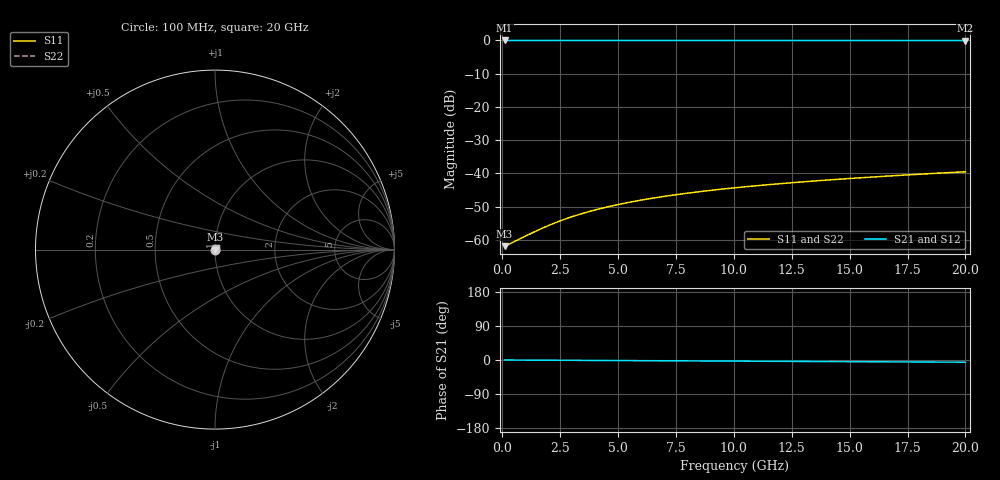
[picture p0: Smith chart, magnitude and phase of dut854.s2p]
! Touchstone file exported from HFSS 2026.1.0
!  File:  C:/ffzhzh/LocalFiles/Ansys_Project_Files/temp_train_TSV_854_1783185218_51560.aedt
!  Generated:  01:15:25 AM Jul  5, 2026
!  Design:  TSV
!  Project:  temp_train_TSV_854_1783185218_51560
! Variables:
!  h_bsmrdl = 2um
!  h_ox = 20um
!  h_rdl = 5um
!  h_sub = 61.99um
!  h_tmrdl = 5um
!  h_tsv = 61.99um
!  h_via = 3um
!  l_bsmrdl = 300um
!  l_sub = 406.08um
!  l_tmrdl = 200um
!  m_sub = 200um
!  pitch = 14.14um
!  r_tsv = 3.04um
!  s_tmrdl = 10um
!  w_bsmrdl = 18um
!  w_sub = 500um
!  w_tmrdl = 12um
!  x_tsv_center1 = 206um
!  x_tsv_center2 = 524um
!  x_tsv_center3 = 736um
!  x_tsv_center4 = 1054um
!  x_tsv_center5 = 1266um
!  x_tsv_center6 = 1584um
# GHz S MA R 50.000000
! Terminal data exported
! Port[1] = TSV1_1_T1
! Port[2] = TSV1_1_T2
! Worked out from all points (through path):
!   200 points, 100 MHz to 20 GHz, reference 50 ohm
!   highest |S21| = -0.01 dB at 100 MHz (marker M1); lowest = 0.0 dB at 20 GHz (marker M2)
!   lowest |S11| = -61.9 dB at 100 MHz (marker M3), VSWR 1.00, Z = 50.1 + j0.00882 ohm
!   |S11| at or under -10 dB: start of sweep to end of sweep
!   |S22| runs from -61.9 to -39.5 dB; largest |S21 - S12| = 4.7e-15
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0.1  0.0008056 6.3  0.9992 -0.0  0.9992 -0.0  0.0008056 6.3
! Gamma 0 0 0 0
! Port Impedance 50 0 50 0
0.2  0.0008314 11.8  0.9992 -0.1  0.9992 -0.1  0.0008314 11.8
0.6  0.0009781 27.1  0.9991 -0.2  0.9991 -0.2  0.0009781 27.1
1.4  0.001331 45.4  0.9991 -0.4  0.9991 -0.4  0.001331 45.4
2  0.00165 53.5  0.999 -0.6  0.999 -0.6  0.00165 53.5
2.3  0.001819 56.3  0.999 -0.7  0.999 -0.7  0.001819 56.3
2.7  0.002051 59.2  0.999 -0.8  0.999 -0.8  0.002051 59.2
3.1  0.002287 61.4  0.9989 -0.9  0.9989 -0.9  0.002287 61.4
3.5  0.002524 63.0  0.9989 -1.0  0.9989 -1.0  0.002524 63.0
4.2  0.002938 65.0  0.9988 -1.3  0.9988 -1.3  0.002938 65.0
5  0.003405 66.4  0.9987 -1.5  0.9987 -1.5  0.003405 66.4
5.9  0.003916 67.3  0.9986 -1.8  0.9986 -1.8  0.003916 67.3
6.8  0.004412 67.8  0.9985 -2.0  0.9985 -2.0  0.004412 67.8
7.5  0.004787 68.1  0.9984 -2.2  0.9984 -2.2  0.004787 68.1
8.3  0.005205 68.3  0.9983 -2.4  0.9983 -2.4  0.005205 68.3
9.2  0.005662 68.4  0.9982 -2.7  0.9982 -2.7  0.005662 68.4
10.1  0.006107 68.5  0.998 -3.0  0.998 -3.0  0.006107 68.5
11.7  0.006875 68.6  0.9979 -3.4  0.9979 -3.4  0.006875 68.6
13.4  0.007665 68.6  0.9977 -3.9  0.9977 -3.9  0.007665 68.6
15  0.008392 68.7  0.9975 -4.4  0.9975 -4.4  0.008392 68.7
16.7  0.009151 68.7  0.9974 -4.9  0.9974 -4.9  0.009151 68.7
20  0.0106 68.6  0.9971 -5.8  0.9971 -5.8  0.0106 68.6
